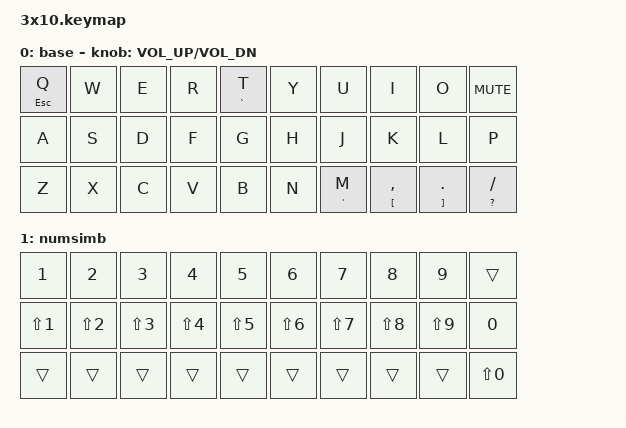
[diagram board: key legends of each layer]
#include <behaviors.dtsi>
#include <dt-bindings/zmk/keys.h>

#define DEFAULT 0
#define NUMPAD 1
#define BLT 2

/ {
    combos {
        compatible = "zmk,combos";

        /* ==================== CTRL+C, X, V ==================== */
        /* ==================== Остальные комбо ==================== */

        backspace {
            timeout-ms = <60>;
            require-prior-idle-ms = <180>;   // чуть строже, чтобы не срабатывал случайно
            bindings = <&kp BACKSPACE>;
            key-positions = <7 8>;
        };

        qstn {
            bindings = <&kp LS(N7)>;
            key-positions = <6 5>;
        };

        rght_skbk {
            bindings = <&kp RIGHT_PARENTHESIS>;
            key-positions = <4 3>;
            layers = <0>;
        };

        lft_skbk {
            bindings = <&kp LEFT_PARENTHESIS>;
            key-positions = <2 3>;
            layers = <0>;
        };

        to_numa {
            bindings = <&to 0>;
            key-positions = <36>;
        };

        to_simb {
            bindings = <&to 1>;
            key-positions = <48 50 18 17>;
        };

        space {
            bindings = <&kp SPACE>;
            key-positions = <7 6>;
        };

        entr {
            bindings = <&kp ENTER>;
            key-positions = <18 19>;
        };

        ctrl+shft {
            bindings = <&kp LS(LEFT_CONTROL)>;
            key-positions = <20 10>;
        };

        ctrl {
            bindings = <&sk LCTRL>;
            key-positions = <20 21>;
        };

        shft {
            bindings = <&sk LEFT_SHIFT>;
            key-positions = <10 11>;
        };

        tobase {
            bindings = <&to 0>;
            key-positions = <0 20>;
        };
    };

    keymap {
        compatible = "zmk,keymap";

        base_layer {
            bindings = <
&mt ESC Q  &kp W  &kp E  &kp R  &mt GRAVE T  &kp Y  &kp U      &kp I           &kp O         &kp C_MUTE
&kp A      &kp S  &kp D  &kp F  &kp G        &kp H  &kp J      &kp K           &kp L         &kp P
&kp Z      &kp X  &kp C  &kp V  &kp B        &kp N  &mt SQT M  &mt LBKT COMMA  &mt RBKT DOT  &mt QMARK FSLH
            >;

            sensor-bindings = <&inc_dec_kp C_VOL_UP C_VOL_DN>;
            label = "base";
        };

        numsimb {
            bindings = <
&kp N1      &kp N2      &kp N3      &kp N4      &kp N5      &kp N6      &kp N7      &kp N8      &kp N9      &trans
&kp LS(N1)  &kp LS(N2)  &kp LS(N3)  &kp LS(N4)  &kp LS(N5)  &kp LS(N6)  &kp LS(N7)  &kp LS(N8)  &kp LS(N9)  &kp N0
&trans      &trans      &trans      &trans      &trans      &trans      &trans      &trans      &trans      &kp LS(N0)
            >;
        };
    };
};
